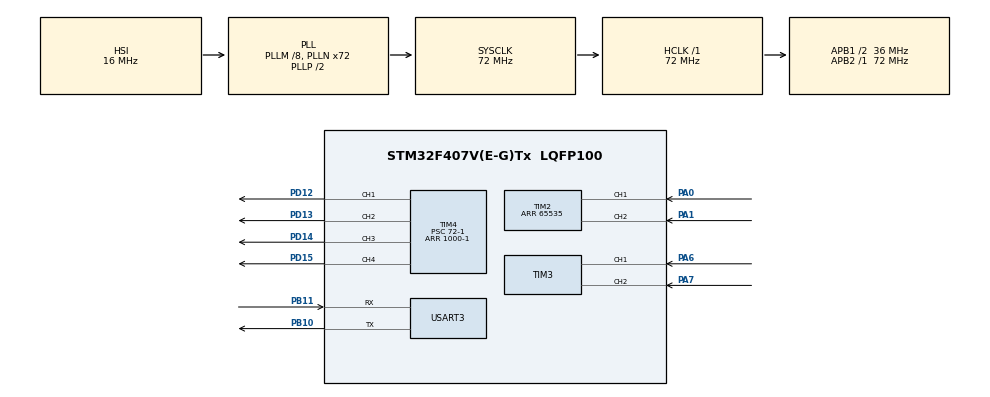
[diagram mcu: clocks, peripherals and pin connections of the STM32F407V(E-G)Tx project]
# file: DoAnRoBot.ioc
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Dma.Request0=USART3_RX
Dma.USART3_RX.0.Direction=DMA_PERIPH_TO_MEMORY
Dma.USART3_RX.0.FIFOMode=DMA_FIFOMODE_DISABLE
Dma.USART3_RX.0.Instance=DMA1_Stream1
Dma.USART3_RX.0.MemDataAlignment=DMA_MDATAALIGN_BYTE
Dma.USART3_RX.0.MemInc=DMA_MINC_ENABLE
Dma.USART3_RX.0.Mode=DMA_NORMAL
Dma.USART3_RX.0.PeriphDataAlignment=DMA_PDATAALIGN_BYTE
Dma.USART3_RX.0.PeriphInc=DMA_PINC_DISABLE
Dma.USART3_RX.0.Priority=DMA_PRIORITY_HIGH
FREERTOS.Tasks01=TaskRunRobot,0,256,StartRunRobot,Default,NULL,Dynamic,NULL,NULL
Mcu.Family=STM32F4
Mcu.Name=STM32F407V(E-G)Tx
Mcu.Package=LQFP100
NVIC.DMA1_Stream1_IRQn=true\:5\:0\:false\:false\:true\:true\:false\:true\:true
NVIC.PriorityGroup=NVIC_PRIORITYGROUP_4
NVIC.TIM1_UP_TIM10_IRQn=true\:15\:0\:false\:false\:true\:false\:false\:true\:true
NVIC.TIM5_IRQn=true\:5\:0\:false\:false\:true\:true\:true\:true\:true
NVIC.TimeBase=TIM1_UP_TIM10_IRQn
NVIC.TimeBaseIP=TIM1
NVIC.USART3_IRQn=true\:5\:0\:false\:false\:true\:true\:true\:true\:true
PA0-WKUP.Signal=S_TIM2_CH1_ETR
PA1.Signal=S_TIM2_CH2
PA13.Mode=Serial_Wire
PA13.Signal=SYS_JTMS-SWDIO
PA14.Mode=Serial_Wire
PA14.Signal=SYS_JTCK-SWCLK
PA6.Signal=S_TIM3_CH1
PA7.Signal=S_TIM3_CH2
PB10.Mode=Asynchronous
PB10.Signal=USART3_TX
PB11.Mode=Asynchronous
PB11.Signal=USART3_RX
PD12.Signal=S_TIM4_CH1
PD13.Signal=S_TIM4_CH2
PD14.Signal=S_TIM4_CH3
PD15.Signal=S_TIM4_CH4
ProjectManager.HeapSize=0x200
ProjectManager.StackSize=0x400
ProjectManager.TargetToolchain=STM32CubeIDE
RCC.48MHZClocksFreq_Value=36000000
RCC.AHBFreq_Value=72000000
RCC.APB1CLKDivider=RCC_HCLK_DIV2
RCC.APB1Freq_Value=36000000
RCC.APB1TimFreq_Value=72000000
RCC.APB2Freq_Value=72000000
RCC.APB2TimFreq_Value=72000000
RCC.CortexFreq_Value=72000000
RCC.HCLKFreq_Value=72000000
RCC.HSE_VALUE=25000000
RCC.HSI_VALUE=16000000
RCC.LSE_VALUE=32768
RCC.PLLM=8
RCC.PLLN=72
RCC.SYSCLKFreq_VALUE=72000000
RCC.SYSCLKSource=RCC_SYSCLKSOURCE_PLLCLK
RCC.VCOOutputFreq_Value=144000000
SH.S_TIM2_CH1_ETR.0=TIM2_CH1,Encoder_Interface
SH.S_TIM2_CH2.0=TIM2_CH2,Encoder_Interface
SH.S_TIM3_CH1.0=TIM3_CH1,Encoder_Interface
SH.S_TIM3_CH2.0=TIM3_CH2,Encoder_Interface
SH.S_TIM4_CH1.0=TIM4_CH1,PWM Generation1 CH1
SH.S_TIM4_CH2.0=TIM4_CH2,PWM Generation2 CH2
SH.S_TIM4_CH3.0=TIM4_CH3,PWM Generation3 CH3
SH.S_TIM4_CH4.0=TIM4_CH4,PWM Generation4 CH4
TIM2.EncoderMode=TIM_ENCODERMODE_TI12
TIM2.Period=65535
TIM3.EncoderMode=TIM_ENCODERMODE_TI12
TIM4.Channel-PWM\ Generation1\ CH1=TIM_CHANNEL_1
TIM4.Channel-PWM\ Generation2\ CH2=TIM_CHANNEL_2
TIM4.Channel-PWM\ Generation3\ CH3=TIM_CHANNEL_3
TIM4.Channel-PWM\ Generation4\ CH4=TIM_CHANNEL_4
TIM4.Period=1000-1
TIM4.Prescaler=72-1
TIM5.Period=1000-1
TIM5.Prescaler=72-1
USART3.VirtualMode=VM_ASYNC
VP_FREERTOS_VS_CMSIS_V1.Mode=CMSIS_V1
VP_SYS_VS_tim1.Mode=TIM1
VP_TIM5_VS_ClockSourceINT.Mode=Internal
board=custom

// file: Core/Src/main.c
/* USER CODE BEGIN Header */
/**
  ******************************************************************************
  * @file           : main.c
  * @brief          : Main program body
  ******************************************************************************
  * @attention
  *
  * Copyright (c) 2024 STMicroelectronics.
  * All rights reserved.
  *
  * This software is licensed under terms that can be found in the LICENSE file
  * in the root directory of this software component.
  * If no LICENSE file comes with this software, it is provided AS-IS.
  *
  ******************************************************************************
  */
/* USER CODE END Header */
#include "main.h"
#include "cmsis_os.h"

/* USER CODE BEGIN Includes */
#include "ENCODER.h"
#include "PID.h"

#include <math.h>
#include <stdbool.h>
#include <stdio.h>
#include <stdlib.h>
#include <string.h>
/* USER CODE END Includes */

TIM_HandleTypeDef htim2;
TIM_HandleTypeDef htim3;
TIM_HandleTypeDef htim4;
TIM_HandleTypeDef htim5;

UART_HandleTypeDef huart3;
DMA_HandleTypeDef hdma_usart3_rx;

osThreadId TaskRunRobotHandle;
/* USER CODE BEGIN PV */
PID_TypeDef pidVelR, pidVelL;
ENCODER_TypeDef encRight, encLeft;

// Controlling Parameters
uint16_t Encoder_PPR_Left = 495; // x1
uint16_t Encoder_PPR_Right = 495; // x1

float deltaT = 0.005;

// Robot Parameters
float BanKinhBanhPhai = 3.25; // cm
float BanKinhBanhTrai = 3.25; // cm

//-----ROS-----
float vel_R_getFromRaspi, vel_L_getFromRaspi;

float testTx = 0;
float textTx2 = 0;
int tick = 0;
float tickL = 0;
float tickR = 0;

typedef enum {
  RED,
  GREEN,
  BLUE
} LED_Color_t;

uint8_t Dis;

/* USER CODE END PV */

void SystemClock_Config(void);
static void MX_GPIO_Init(void);
static void MX_DMA_Init(void);
static void MX_TIM2_Init(void);
static void MX_TIM3_Init(void);
static void MX_TIM4_Init(void);
static void MX_TIM5_Init(void);
static void MX_USART3_UART_Init(void);
void StartRunRobot(void const * argument);

/* USER CODE BEGIN PFP */
void RunMotor(float power, int wheel);

void ChayViTriBanhPhai(float KhoangCachCM);
void ChayViTriBanhTrai(float KhoangCachCM);

void ChayVanTocBanhPhai(float RPM);
void ChayVanTocBanhTrai(float RPM);

void InvKineCal(float u, float r);

void odometry(float w_real_right, float w_real_left, float theta);
void runPoint(float x_d, float y_d, float theta_d, float x_euler, float y_euler, float theta_euler, float kP_x_y, float kP_theta);

void LED(LED_Color_t color, float OnOff);
/* USER CODE END PFP */

/* USER CODE BEGIN 0 */
// ---To use printf---
#ifdef __GNUC__
	#define PUTCHAR_PROTOTYPE int __io_putchar(int ch)
#else
	#define PUTCHAR_PROTOTYPE int fputc(int ch, FILE *f)
	#define GETCHAR_PROTOTYPE int fgetc(FILE *f)
#endif
PUTCHAR_PROTOTYPE
{
	HAL_UART_Transmit(&huart3, (uint8_t*)&ch,1,100);
	return ch;
}

uint8_t Rx_data[100];
bool flagStop = false;

void HAL_UARTEx_RxEventCallback(UART_HandleTypeDef *huart, uint16_t Size)
{
  if (huart->Instance == huart3.Instance) {
    // Null-terminate the received data to ensure it is a proper C string
    Rx_data[Size] = '\0';
    sscanf((char*)Rx_data, "%f r %f l", &vel_R_getFromRaspi, &vel_L_getFromRaspi);
    // Clear the buffer
    memset(Rx_data, 0, sizeof(Rx_data));
    // Re-enable DMA reception
    HAL_UARTEx_ReceiveToIdle_DMA(&huart3, Rx_data, sizeof(Rx_data) - 1);
  }
}

void RunMotor(float power, int wheel)
{
// 1: left, 2: right
	if(wheel == 1)
	{
		if(power > 0)
		{
			__HAL_TIM_SET_COMPARE(&htim4, TIM_CHANNEL_1, (uint16_t)power);
			__HAL_TIM_SET_COMPARE(&htim4, TIM_CHANNEL_2, 0);
		}
		else if (power < 0)
		{
			__HAL_TIM_SET_COMPARE(&htim4, TIM_CHANNEL_1, 0);
			__HAL_TIM_SET_COMPARE(&htim4, TIM_CHANNEL_2, (uint16_t)(-power));
		}
		else
		{
			__HAL_TIM_SET_COMPARE(&htim4, TIM_CHANNEL_1, 0);
			__HAL_TIM_SET_COMPARE(&htim4, TIM_CHANNEL_2, 0);
		}
	}
	else if(wheel == 2)
	{
		if(power > 0)
		{
			__HAL_TIM_SET_COMPARE(&htim4, TIM_CHANNEL_3, (uint16_t)power);
			__HAL_TIM_SET_COMPARE(&htim4, TIM_CHANNEL_4, 0);
		}
		else if (power < 0)
		{
			__HAL_TIM_SET_COMPARE(&htim4, TIM_CHANNEL_3, 0);
			__HAL_TIM_SET_COMPARE(&htim4, TIM_CHANNEL_4, (uint16_t)(-power));
		}
		else
		{
			__HAL_TIM_SET_COMPARE(&htim4, TIM_CHANNEL_3, 0);
			__HAL_TIM_SET_COMPARE(&htim4, TIM_CHANNEL_4, 0);
		}
	}
}

///////////////////////////////////////////////////////////////////////////////
float debugPIDR = 0;
float debugVelR = 0;

void ChayVanTocBanhPhai(float RPM)
{
	Encoder_GetPulse(&encRight, MODE_x1);
	debugVelR = Encoder_GetSpeed(&encRight, MODE_x1);
	debugPIDR = PID(&pidVelR, RPM, debugVelR);

	if (abs(debugPIDR) < 105.0) {
		RunMotor(0, 2);
		PID_reset(&pidVelR);
	} else {
		RunMotor(debugPIDR, 2);
	}
}

float debugPIDL = 0;
float debugVelL = 0;
void ChayVanTocBanhTrai(float RPM)
{
	Encoder_GetPulse(&encLeft, MODE_x1);
	debugVelL = Encoder_GetSpeed(&encLeft, MODE_x1);
	debugPIDL = PID(&pidVelL, RPM, debugVelL);

	if (abs(debugPIDL) < 105.0) {
		RunMotor(0, 1);
		PID_reset(&pidVelL);
	} else {
		RunMotor(debugPIDL, 1);
	}
}
/* USER CODE END 0 */

int main(void)
{

  /* MCU Configuration--------------------------------------------------------*/

  /* Reset of all peripherals, Initializes the Flash interface and the Systick. */
  HAL_Init();

  /* Configure the system clock */
  SystemClock_Config();

  /* Initialize all configured peripherals */
  MX_GPIO_Init();
  MX_DMA_Init();
  MX_TIM2_Init();
  MX_TIM3_Init();
  MX_TIM4_Init();
  MX_TIM5_Init();
  MX_USART3_UART_Init();
  /* USER CODE BEGIN 2 */
  HAL_TIM_Encoder_Start(&htim2, TIM_CHANNEL_1 | TIM_CHANNEL_2); // Bắt đầu Encoder Mode ở Timer 2, Channel 1 và Channel 2
  HAL_TIM_Encoder_Start(&htim3, TIM_CHANNEL_1 | TIM_CHANNEL_2); // Bắt đầu Encoder Mode ở Timer 3, Channel 1 và Channel 2
  HAL_TIM_PWM_Start(&htim4, TIM_CHANNEL_1); // Bắt đầu PWM ở Timer 4, Channel 1 => Bánh Phải
  HAL_TIM_PWM_Start(&htim4, TIM_CHANNEL_2); // Bắt đầu PWM ở Timer 4, Channel 2 => Bánh Phải
  HAL_TIM_PWM_Start(&htim4, TIM_CHANNEL_3); // Bắt đầu PWM ở Timer 4, Channel 1 => Bánh Trái
  HAL_TIM_PWM_Start(&htim4, TIM_CHANNEL_4); // Bắt đầu PWM ở Timer 4, Channel 2 => Bánh Trái

  HAL_TIM_Base_Start_IT(&htim5); // khoi tao timer 5

  HAL_UARTEx_ReceiveToIdle_DMA(&huart3, Rx_data, 50);

  Encoder_Init(&encLeft, &htim2, Encoder_PPR_Left, deltaT);
  Encoder_Init(&encRight, &htim3, Encoder_PPR_Right, deltaT);

  PID_Init(&pidVelR, 500, 4000, 0, 0.8, 0.005, 1000, -1000);
  PID_Init(&pidVelL, 500, 4000, 0, 0.8, 0.005, 1000, -1000);
  /* USER CODE END 2 */

  /* Create the thread(s) */
  /* definition and creation of TaskRunRobot */
  osThreadDef(TaskRunRobot, StartRunRobot, osPriorityNormal, 0, 256);
  TaskRunRobotHandle = osThreadCreate(osThread(TaskRunRobot), NULL);

  /* Start scheduler */
  osKernelStart();

  /* We should never get here as control is now taken by the scheduler */

  /* Infinite loop */
  while (1)
  {

  }
}

void SystemClock_Config(void)
{
  RCC_OscInitTypeDef RCC_OscInitStruct = {0};
  RCC_ClkInitTypeDef RCC_ClkInitStruct = {0};

  /** Configure the main internal regulator output voltage
  */
  __HAL_RCC_PWR_CLK_ENABLE();
  __HAL_PWR_VOLTAGESCALING_CONFIG(PWR_REGULATOR_VOLTAGE_SCALE1);

  /** Initializes the RCC Oscillators according to the specified parameters
  * in the RCC_OscInitTypeDef structure.
  */
  RCC_OscInitStruct.OscillatorType = RCC_OSCILLATORTYPE_HSI;
  RCC_OscInitStruct.HSIState = RCC_HSI_ON;
  RCC_OscInitStruct.HSICalibrationValue = RCC_HSICALIBRATION_DEFAULT;
  RCC_OscInitStruct.PLL.PLLState = RCC_PLL_ON;
  RCC_OscInitStruct.PLL.PLLSource = RCC_PLLSOURCE_HSI;
  RCC_OscInitStruct.PLL.PLLM = 8;
  RCC_OscInitStruct.PLL.PLLN = 72;
  RCC_OscInitStruct.PLL.PLLP = RCC_PLLP_DIV2;
  RCC_OscInitStruct.PLL.PLLQ = 4;
  if (HAL_RCC_OscConfig(&RCC_OscInitStruct) != HAL_OK)
  {
    Error_Handler();
  }

  /** Initializes the CPU, AHB and APB buses clocks
  */
  RCC_ClkInitStruct.ClockType = RCC_CLOCKTYPE_HCLK|RCC_CLOCKTYPE_SYSCLK
                              |RCC_CLOCKTYPE_PCLK1|RCC_CLOCKTYPE_PCLK2;
  RCC_ClkInitStruct.SYSCLKSource = RCC_SYSCLKSOURCE_PLLCLK;
  RCC_ClkInitStruct.AHBCLKDivider = RCC_SYSCLK_DIV1;
  RCC_ClkInitStruct.APB1CLKDivider = RCC_HCLK_DIV2;
  RCC_ClkInitStruct.APB2CLKDivider = RCC_HCLK_DIV1;

  if (HAL_RCC_ClockConfig(&RCC_ClkInitStruct, FLASH_LATENCY_2) != HAL_OK)
  {
    Error_Handler();
  }
}

static void MX_TIM2_Init(void)
{

  TIM_Encoder_InitTypeDef sConfig = {0};
  TIM_MasterConfigTypeDef sMasterConfig = {0};

  htim2.Instance = TIM2;
  htim2.Init.Prescaler = 0;
  htim2.Init.CounterMode = TIM_COUNTERMODE_UP;
  htim2.Init.Period = 65535;
  htim2.Init.ClockDivision = TIM_CLOCKDIVISION_DIV1;
  htim2.Init.AutoReloadPreload = TIM_AUTORELOAD_PRELOAD_DISABLE;
  sConfig.EncoderMode = TIM_ENCODERMODE_TI12;
  sConfig.IC1Polarity = TIM_ICPOLARITY_RISING;
  sConfig.IC1Selection = TIM_ICSELECTION_DIRECTTI;
  sConfig.IC1Prescaler = TIM_ICPSC_DIV1;
  sConfig.IC1Filter = 0;
  sConfig.IC2Polarity = TIM_ICPOLARITY_RISING;
  sConfig.IC2Selection = TIM_ICSELECTION_DIRECTTI;
  sConfig.IC2Prescaler = TIM_ICPSC_DIV1;
  sConfig.IC2Filter = 0;
  if (HAL_TIM_Encoder_Init(&htim2, &sConfig) != HAL_OK)
  {
    Error_Handler();
  }
  sMasterConfig.MasterOutputTrigger = TIM_TRGO_RESET;
  sMasterConfig.MasterSlaveMode = TIM_MASTERSLAVEMODE_DISABLE;
  if (HAL_TIMEx_MasterConfigSynchronization(&htim2, &sMasterConfig) != HAL_OK)
  {
    Error_Handler();
  }

}

static void MX_TIM3_Init(void)
{

  TIM_Encoder_InitTypeDef sConfig = {0};
  TIM_MasterConfigTypeDef sMasterConfig = {0};

  htim3.Instance = TIM3;
  htim3.Init.Prescaler = 0;
  htim3.Init.CounterMode = TIM_COUNTERMODE_UP;
  htim3.Init.Period = 65535;
  htim3.Init.ClockDivision = TIM_CLOCKDIVISION_DIV1;
  htim3.Init.AutoReloadPreload = TIM_AUTORELOAD_PRELOAD_DISABLE;
  sConfig.EncoderMode = TIM_ENCODERMODE_TI12;
  sConfig.IC1Polarity = TIM_ICPOLARITY_RISING;
  sConfig.IC1Selection = TIM_ICSELECTION_DIRECTTI;
  sConfig.IC1Prescaler = TIM_ICPSC_DIV1;
  sConfig.IC1Filter = 0;
  sConfig.IC2Polarity = TIM_ICPOLARITY_RISING;
  sConfig.IC2Selection = TIM_ICSELECTION_DIRECTTI;
  sConfig.IC2Prescaler = TIM_ICPSC_DIV1;
  sConfig.IC2Filter = 0;
  if (HAL_TIM_Encoder_Init(&htim3, &sConfig) != HAL_OK)
  {
    Error_Handler();
  }
  sMasterConfig.MasterOutputTrigger = TIM_TRGO_RESET;
  sMasterConfig.MasterSlaveMode = TIM_MASTERSLAVEMODE_DISABLE;
  if (HAL_TIMEx_MasterConfigSynchronization(&htim3, &sMasterConfig) != HAL_OK)
  {
    Error_Handler();
  }

}

static void MX_TIM4_Init(void)
{

  TIM_MasterConfigTypeDef sMasterConfig = {0};
  TIM_OC_InitTypeDef sConfigOC = {0};

  htim4.Instance = TIM4;
  htim4.Init.Prescaler = 72-1;
  htim4.Init.CounterMode = TIM_COUNTERMODE_UP;
  htim4.Init.Period = 1000-1;
  htim4.Init.ClockDivision = TIM_CLOCKDIVISION_DIV1;
  htim4.Init.AutoReloadPreload = TIM_AUTORELOAD_PRELOAD_DISABLE;
  if (HAL_TIM_PWM_Init(&htim4) != HAL_OK)
  {
    Error_Handler();
  }
  sMasterConfig.MasterOutputTrigger = TIM_TRGO_RESET;
  sMasterConfig.MasterSlaveMode = TIM_MASTERSLAVEMODE_DISABLE;
  if (HAL_TIMEx_MasterConfigSynchronization(&htim4, &sMasterConfig) != HAL_OK)
  {
    Error_Handler();
  }
  sConfigOC.OCMode = TIM_OCMODE_PWM1;
  sConfigOC.Pulse = 0;
  sConfigOC.OCPolarity = TIM_OCPOLARITY_HIGH;
  sConfigOC.OCFastMode = TIM_OCFAST_DISABLE;
  if (HAL_TIM_PWM_ConfigChannel(&htim4, &sConfigOC, TIM_CHANNEL_1) != HAL_OK)
  {
    Error_Handler();
  }
  if (HAL_TIM_PWM_ConfigChannel(&htim4, &sConfigOC, TIM_CHANNEL_2) != HAL_OK)
  {
    Error_Handler();
  }
  if (HAL_TIM_PWM_ConfigChannel(&htim4, &sConfigOC, TIM_CHANNEL_3) != HAL_OK)
  {
    Error_Handler();
  }
  if (HAL_TIM_PWM_ConfigChannel(&htim4, &sConfigOC, TIM_CHANNEL_4) != HAL_OK)
  {
    Error_Handler();
  }
  HAL_TIM_MspPostInit(&htim4);

}

static void MX_TIM5_Init(void)
{

  TIM_ClockConfigTypeDef sClockSourceConfig = {0};
  TIM_MasterConfigTypeDef sMasterConfig = {0};

  htim5.Instance = TIM5;
  htim5.Init.Prescaler = 72-1;
  htim5.Init.CounterMode = TIM_COUNTERMODE_UP;
  htim5.Init.Period = 1000-1;
  htim5.Init.ClockDivision = TIM_CLOCKDIVISION_DIV1;
  htim5.Init.AutoReloadPreload = TIM_AUTORELOAD_PRELOAD_DISABLE;
  if (HAL_TIM_Base_Init(&htim5) != HAL_OK)
  {
    Error_Handler();
  }
  sClockSourceConfig.ClockSource = TIM_CLOCKSOURCE_INTERNAL;
  if (HAL_TIM_ConfigClockSource(&htim5, &sClockSourceConfig) != HAL_OK)
  {
    Error_Handler();
  }
  sMasterConfig.MasterOutputTrigger = TIM_TRGO_RESET;
  sMasterConfig.MasterSlaveMode = TIM_MASTERSLAVEMODE_DISABLE;
  if (HAL_TIMEx_MasterConfigSynchronization(&htim5, &sMasterConfig) != HAL_OK)
  {
    Error_Handler();
  }

}

static void MX_USART3_UART_Init(void)
{

  huart3.Instance = USART3;
  huart3.Init.BaudRate = 115200;
  huart3.Init.WordLength = UART_WORDLENGTH_8B;
  huart3.Init.StopBits = UART_STOPBITS_1;
  huart3.Init.Parity = UART_PARITY_NONE;
  huart3.Init.Mode = UART_MODE_TX_RX;
  huart3.Init.HwFlowCtl = UART_HWCONTROL_NONE;
  huart3.Init.OverSampling = UART_OVERSAMPLING_16;
  if (HAL_UART_Init(&huart3) != HAL_OK)
  {
    Error_Handler();
  }

}

static void MX_DMA_Init(void)
{

  /* DMA controller clock enable */
  __HAL_RCC_DMA1_CLK_ENABLE();

  /* DMA interrupt init */
  /* DMA1_Stream1_IRQn interrupt configuration */
  HAL_NVIC_SetPriority(DMA1_Stream1_IRQn, 5, 0);
  HAL_NVIC_EnableIRQ(DMA1_Stream1_IRQn);

}

static void MX_GPIO_Init(void)
{

  /* GPIO Ports Clock Enable */
  __HAL_RCC_GPIOA_CLK_ENABLE();
  __HAL_RCC_GPIOB_CLK_ENABLE();
  __HAL_RCC_GPIOD_CLK_ENABLE();

}

/* USER CODE BEGIN Header_StartRunRobot */
/**
  * @brief  Function implementing the TaskRunRobot thread.
  * @param  argument: Not used
  * @retval None
  */

float vel_R_getFromRaspi_LamTron = 0;
float vel_L_getFromRaspi_LamTron = 0;

float testTx1, testTx2 = 0;

/* USER CODE END Header_StartRunRobot */
void StartRunRobot(void const * argument)
{
  /* USER CODE BEGIN 5 */
  /* Infinite loop */
  for(;;)
  {

		vel_R_getFromRaspi_LamTron = vel_R_getFromRaspi*100;
		vel_L_getFromRaspi_LamTron = vel_L_getFromRaspi*100;
	    if (vel_R_getFromRaspi_LamTron == 0 && vel_R_getFromRaspi_LamTron == 0) {
	    	flagStop = true;
	    	//LED(RED, 1);
	    } else {
	    	flagStop = false;
	    	//LED(GREEN, 1);
	    }

		ChayVanTocBanhPhai(vel_R_getFromRaspi);
		ChayVanTocBanhTrai(vel_L_getFromRaspi);

		tickL = Encoder_GetPulse_return(&encLeft, MODE_x1);
		tickR = Encoder_GetPulse_return(&encRight, MODE_x1);
    osDelay(5);
  }
  /* USER CODE END 5 */
}

void HAL_TIM_PeriodElapsedCallback(TIM_HandleTypeDef *htim)
{
  /* USER CODE BEGIN Callback 0 */
	// TIM5: (72*1000)/72000000hz = 1ms
	if(htim->Instance == TIM5) {
		tick++;
		if (tick == 50) {
			tick = 0;
			if (flagStop == false) {
				printf("%.0fr%.0fl\n", tickR, tickL);
			}
		}
	}
  /* USER CODE END Callback 0 */
  if (htim->Instance == TIM1) {
    HAL_IncTick();
  }
}

void Error_Handler(void)
{
  __disable_irq();
  while (1)
  {
  }
}
